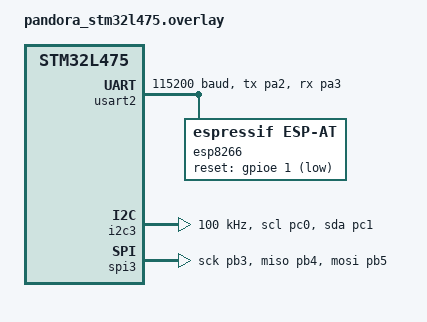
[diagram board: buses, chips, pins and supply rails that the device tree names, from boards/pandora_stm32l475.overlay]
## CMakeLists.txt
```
# SPDX-License-Identifier: Apache-2.0

cmake_minimum_required(VERSION 3.20.0)

find_package(Zephyr REQUIRED HINTS $ENV{ZEPHYR_BASE})
project(hello_world)

target_sources(app PRIVATE src/main.c src/wait_for_wifi.c)
```

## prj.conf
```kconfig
CONFIG_WIFI=y
CONFIG_I2C=y
CONFIG_MAIN_STACK_SIZE=3072
CONFIG_SYSTEM_WORKQUEUE_STACK_SIZE=2048
CONFIG_HW_STACK_PROTECTION=y
CONFIG_GPIO=y
CONFIG_CONSOLE=y
CONFIG_NET_DRIVERS=y
CONFIG_ARM_MPU=y
# CONFIG_THREAD_MONITOR is not set
# CONFIG_THREAD_NAME is not set
# CONFIG_DEVICE_DT_METADATA is not set
CONFIG_UART_CONSOLE=y
CONFIG_DISPLAY=y
CONFIG_GPIO_SHELL=y
CONFIG_I2C_SHELL=y
CONFIG_NET_LOOPBACK=y
CONFIG_WIFI_ESP_AT_CIPDINFO_USE=y
CONFIG_POSIX_API=y
CONFIG_MEM_ATTR_HEAP=y
CONFIG_NETWORKING=y
CONFIG_NET_L2_WIFI_SHELL=y
CONFIG_NET_IF_UNICAST_IPV4_ADDR_COUNT=1
CONFIG_NET_ICMPV4_ACCEPT_BROADCAST=y
CONFIG_NET_IPV4_ACCEPT_ZERO_BROADCAST=y
CONFIG_NET_SHELL=y
CONFIG_NET_MAX_ROUTERS=1
CONFIG_NET_TCP=y
CONFIG_NET_TCP_LOG_LEVEL_DBG=y
CONFIG_NET_MAX_CONN=4
CONFIG_NET_MAX_CONTEXTS=10
CONFIG_NET_CONTEXT_NET_PKT_POOL=y
CONFIG_NET_PKT_RX_COUNT=16
CONFIG_NET_PKT_TX_COUNT=16
CONFIG_NET_BUF_RX_COUNT=128
CONFIG_NET_BUF_TX_COUNT=128
CONFIG_NET_STATISTICS=y
CONFIG_NET_LOG=y
CONFIG_HTTP_CLIENT=y
CONFIG_NET_CONFIG_SETTINGS=y
CONFIG_NET_CONFIG_NEED_IPV4=y
CONFIG_NET_SOCKETS_POLL_MAX=4
CONFIG_NET_DHCPV4=y
CONFIG_NET_CONNECTION_MANAGER=y
CONFIG_TEST_RANDOM_GENERATOR=y
```

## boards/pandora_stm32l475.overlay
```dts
&usart2 {
	pinctrl-0 = <&usart2_tx_pa2 &usart2_rx_pa3>;
	pinctrl-names = "default";
	current-speed = <115200>;
	status = "okay";
	esp8266 {
		compatible = "espressif,esp-at";
		reset-gpios = <&gpioe 1 GPIO_ACTIVE_LOW>;
		status = "okay";
	};
};

&i2c3 {
	compatible = "st,stm32-i2c-v2";
	pinctrl-0 = <&i2c3_scl_pc0 &i2c3_sda_pc1>;
	pinctrl-names = "default";
	clock-frequency = <I2C_BITRATE_STANDARD>;
	status = "okay";
};

&spi3 {
	status = "okay";

	pinctrl-0 = <&spi3_sck_pb3 &spi3_miso_pb4 &spi3_mosi_pb5>;
	pinctrl-names = "default";

	cs-gpios = <&gpiod 7 GPIO_ACTIVE_LOW>;
};
```

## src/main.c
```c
/*
 * Copyright (c) 2019 Intel Corporation
 *
 * SPDX-License-Identifier: Apache-2.0
 */

#include <stdio.h>

#include <zephyr/logging/log.h>
LOG_MODULE_REGISTER(net_http_client_sample, LOG_LEVEL_DBG);

#include <zephyr/net/net_ip.h>
#include <zephyr/net/socket.h>
#include <zephyr/net/http/client.h>

#include "wait_for_wifi.h"

#define SERVER_ADDR4 "192.168.12.1"
#define HTTP_PORT 8000

#define MAX_RECV_BUF_LEN 512

static uint8_t recv_buf_ipv4[MAX_RECV_BUF_LEN];

static int setup_socket(sa_family_t family, const char *server, int port,
			int *sock, struct sockaddr *addr, socklen_t addr_len)
{
	const char *family_str = family == AF_INET ? "IPv4" : "IPv6";
	int ret = 0;

	memset(addr, 0, addr_len);

	if (family == AF_INET) {
		net_sin(addr)->sin_family = AF_INET;
		net_sin(addr)->sin_port = htons(port);
		inet_pton(family, server, &net_sin(addr)->sin_addr);
	} else {
		LOG_ERR("Please use IPv4\n");
		ret = -errno;
	}

	*sock = socket(family, SOCK_STREAM, IPPROTO_TCP);

	if (*sock < 0) {
		LOG_ERR("Failed to create %s HTTP socket (%d)", family_str,
			-errno);
	}

	return ret;
}

static int payload_cb(int sock, struct http_request *req, void *user_data)
{
	const char *content[] = {
		"foobar",
		"chunked",
		"last"
	};
	char tmp[64];
	int i, pos = 0;

	for (i = 0; i < ARRAY_SIZE(content); i++) {
		pos += snprintk(tmp + pos, sizeof(tmp) - pos,
				"%x\r\n%s\r\n",
				(unsigned int)strlen(content[i]),
				content[i]);
	}

	pos += snprintk(tmp + pos, sizeof(tmp) - pos, "0\r\n\r\n");

	(void)send(sock, tmp, pos, 0);

	return pos;
}

static void response_cb(struct http_response *rsp,
			enum http_final_call final_data,
			void *user_data)
{
	if (final_data == HTTP_DATA_MORE) {
		LOG_INF("Partial data received (%zd bytes)", rsp->data_len);
	} else if (final_data == HTTP_DATA_FINAL) {
		LOG_INF("All the data received (%zd bytes)", rsp->data_len);
	}

	// Print out the response
	for(int i = 0; i < rsp->data_len; i++) {
		printf("%c", rsp->recv_buf[i]);
	}
	printf("\n");

	LOG_INF("Response to %s", (const char *)user_data);
	LOG_INF("Response status %s", rsp->http_status);
}

static int connect_socket(sa_family_t family, const char *server, int port,
			  int *sock, struct sockaddr *addr, socklen_t addr_len)
{
	int ret;

	ret = setup_socket(family, server, port, sock, addr, addr_len);
	if (ret < 0 || *sock < 0) {
		return -1;
	}

	ret = connect(*sock, addr, addr_len);
	if (ret < 0) {
		LOG_ERR("Cannot connect to %s remote (%d)",
			family == AF_INET ? "IPv4" : "IPv6",
			-errno);
		close(*sock);
		*sock = -1;
		ret = -errno;
	}

	return ret;
}

static int run_queries(void)
{
	struct sockaddr_in addr4;
	int sock4 = -1;
	int32_t timeout = 5 * MSEC_PER_SEC;
	int ret = 0;
	int port = HTTP_PORT;

	if (IS_ENABLED(CONFIG_NET_IPV4)) {
		(void)connect_socket(AF_INET, SERVER_ADDR4, port,
				     &sock4, (struct sockaddr *)&addr4,
				     sizeof(addr4));
	}

	if (sock4 < 0) {
		LOG_ERR("Cannot create HTTP connection.");
		return -ECONNABORTED;
	}

	if (sock4 >= 0 && IS_ENABLED(CONFIG_NET_IPV4)) {
		struct http_request req;

		memset(&req, 0, sizeof(req));

		req.method = HTTP_GET;
		req.url = "/";
		req.host = SERVER_ADDR4;
		req.protocol = "HTTP/1.1";
		req.response = response_cb;
		req.recv_buf = recv_buf_ipv4;
		req.recv_buf_len = sizeof(recv_buf_ipv4);

		ret = http_client_req(sock4, &req, timeout, "IPv4 GET");

		close(sock4);
	}

	sock4 = -1;

	if (IS_ENABLED(CONFIG_NET_IPV4)) {
		(void)connect_socket(AF_INET, SERVER_ADDR4, port,
				     &sock4, (struct sockaddr *)&addr4,
				     sizeof(addr4));
	}

	if (sock4 < 0) {
		LOG_ERR("Cannot create HTTP connection.");
		return -ECONNABORTED;
	}

	if (sock4 >= 0 && IS_ENABLED(CONFIG_NET_IPV4)) {
		struct http_request req;

		memset(&req, 0, sizeof(req));

		req.method = HTTP_POST;
		req.url = "/foobar";
		req.host = SERVER_ADDR4;
		req.protocol = "HTTP/1.1";
		req.payload = "foobar";
		req.payload_len = strlen(req.payload);
		req.response = response_cb;
		req.recv_buf = recv_buf_ipv4;
		req.recv_buf_len = sizeof(recv_buf_ipv4);

		ret = http_client_req(sock4, &req, timeout, "IPv4 POST");

		close(sock4);
	}

	/* Do a chunked POST request */

	sock4 = -1;

	if (IS_ENABLED(CONFIG_NET_IPV4)) {
		(void)connect_socket(AF_INET, SERVER_ADDR4, port,
				     &sock4, (struct sockaddr *)&addr4,
				     sizeof(addr4));
	}

	if (sock4 < 0) {
		LOG_ERR("Cannot create HTTP connection.");
		return -ECONNABORTED;
	}

	if (sock4 >= 0 && IS_ENABLED(CONFIG_NET_IPV4)) {
		struct http_request req;
		const char *headers[] = {
			"Transfer-Encoding: chunked\r\n",
			NULL
		};

		memset(&req, 0, sizeof(req));

		req.method = HTTP_POST;
		req.url = "/chunked-test";
		req.host = SERVER_ADDR4;
		req.protocol = "HTTP/1.1";
		req.payload_cb = payload_cb;
		req.header_fields = headers;
		req.response = response_cb;
		req.recv_buf = recv_buf_ipv4;
		req.recv_buf_len = sizeof(recv_buf_ipv4);

		ret = http_client_req(sock4, &req, timeout, "IPv4 POST");

		close(sock4);
	}

	return ret;
}

int main(void)
{
	LOG_INF("Starting HTTP sample");
	wait_for_wifi();
	LOG_INF("Wifi Connected");

	int iterations = 10;

	for(int i = 0; i < iterations; i++) {
		LOG_INF("Running test #%d", i);
		int ret = run_queries();
		if (ret < 0) {
			LOG_ERR("Cannot send queries.");
		}
	}

	return 0;
}
```

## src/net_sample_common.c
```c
/*
 * Copyright (c) 2024 Nordic Nordic Semiconductor ASA
 *
 * SPDX-License-Identifier: Apache-2.0
 */

#include <zephyr/logging/log.h>
LOG_MODULE_REGISTER(net_samples_common, LOG_LEVEL_DBG);

#include <zephyr/net/conn_mgr_connectivity.h>

#if defined(CONFIG_NET_CONNECTION_MANAGER)
#define L4_EVENT_MASK (NET_EVENT_L4_CONNECTED | NET_EVENT_L4_DISCONNECTED)

static struct net_mgmt_event_callback l4_cb;
static K_SEM_DEFINE(network_connected, 0, 1);

static void l4_event_handler(struct net_mgmt_event_callback *cb, uint32_t event,
			     struct net_if *iface)
{
	switch (event) {
	case NET_EVENT_L4_CONNECTED:
		LOG_INF("Network connectivity established and IP address assigned");
		k_sem_give(&network_connected);
		break;
	case NET_EVENT_L4_DISCONNECTED:
		break;
	default:
		break;
	}
}

void wait_for_network(void)
{
	net_mgmt_init_event_callback(&l4_cb, l4_event_handler, L4_EVENT_MASK);
	net_mgmt_add_event_callback(&l4_cb);

	LOG_INF("Waiting for network...");

	k_sem_take(&network_connected, K_FOREVER);
}
#endif /* CONFIG_NET_CONNECTION_MANAGER */
```

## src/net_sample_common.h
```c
/*
 * Copyright (c) 2024 Nordic Nordic Semiconductor ASA
 *
 * SPDX-License-Identifier: Apache-2.0
 */

#if defined(CONFIG_NET_CONNECTION_MANAGER)
void wait_for_network(void);
#else
static inline void wait_for_network(void) { }
#endif /* CONFIG_NET_CONNECTION_MANAGER */
```

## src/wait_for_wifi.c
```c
/*
 * Copyright (c) 2024 Nordic Nordic Semiconductor ASA
 *
 * SPDX-License-Identifier: Apache-2.0
 */

#include <zephyr/net/net_if.h>
#include <zephyr/net/net_mgmt.h>
#include <zephyr/net/wifi_mgmt.h>

#include <zephyr/logging/log.h>
LOG_MODULE_REGISTER(wifi_event_handler);

#if defined(CONFIG_NET_CONNECTION_MANAGER)

static K_SEM_DEFINE(network_connected, 0, 1);

static void wifi_event_handler(struct net_mgmt_event_callback *cb,
                                uint32_t mgmt_event,
                                struct net_if *iface) {
    if (mgmt_event == NET_EVENT_WIFI_CONNECT_RESULT) {
        LOG_INF("Connected to Wi-Fi network");
		k_sem_give(&network_connected);
    } else if (mgmt_event == NET_EVENT_WIFI_DISCONNECT_RESULT) {
        LOG_INF("Disconnected from Wi-Fi network");
    }
}

void wait_for_wifi(void)
{
	struct net_mgmt_event_callback wifi_cb;

    // Check if Wi-Fi is connected
    struct net_if *iface = net_if_get_default();
    if (iface) {
        if (net_if_is_up(iface)) {
            LOG_INF("Wi-Fi is connected");
        } else {
            LOG_INF("Wi-Fi is not connected");

            // Register the Wi-Fi event callback
            net_mgmt_init_event_callback(&wifi_cb, wifi_event_handler, 
                                        NET_EVENT_WIFI_CONNECT_RESULT | NET_EVENT_WIFI_DISCONNECT_RESULT);
            net_mgmt_add_event_callback(&wifi_cb);

            LOG_INF("Waiting for Wi-Fi connection");

            k_sem_take(&network_connected, K_FOREVER);
        }
    } else {
        LOG_ERR("No network interface found");
    }

}
#endif /* CONFIG_NET_CONNECTION_MANAGER */
```

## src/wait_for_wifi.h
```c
/*
 * Copyright (c) 2024 Nordic Nordic Semiconductor ASA
 *
 * SPDX-License-Identifier: Apache-2.0
 */

#if defined(CONFIG_NET_CONNECTION_MANAGER)
void wait_for_wifi(void);
#else
static inline void wait_for_wifi(void) { }
#endif /* CONFIG_NET_CONNECTION_MANAGER */
```
